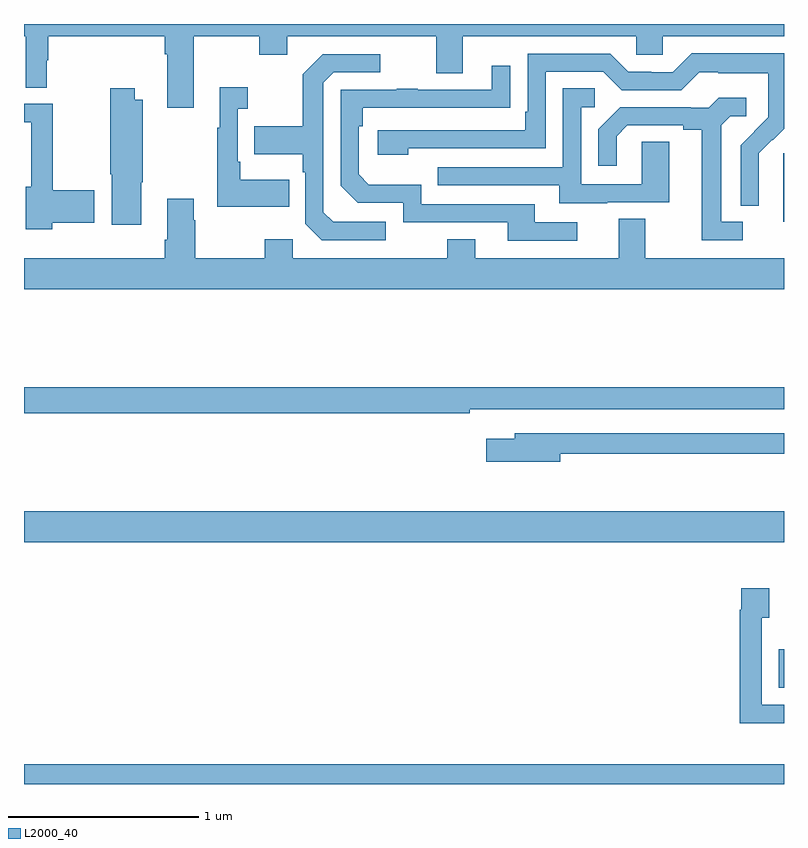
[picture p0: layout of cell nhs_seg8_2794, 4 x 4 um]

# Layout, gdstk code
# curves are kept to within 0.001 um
import gdstk
lib = gdstk.Library(unit=1e-6, precision=1e-09)
def R(c, l, rs):  # rectangles x0, y0, x1, y1
    for r in rs: c.add(gdstk.rectangle(r[:2], r[2:], *l))
def P(c, l, *ps):  # polygons
    for p in ps: c.add(gdstk.Polygon(p, *l))
L2000_40 = (2000, 40)

nhs_seg8_2794 = lib.new_cell('nhs_seg8_2794')
R(nhs_seg8_2794, L2000_40, [(287,1109.9,291,1110.004), (290.972,1110.407,291,1110.61), (287,1111.172,291,1111.336), (290.996,1112.858,291,1113.219)])
P(nhs_seg8_2794, L2000_40, [(287,1113.836),(287.009,1113.836),(287.009,1113.565),(287.12,1113.565),(287.12,1113.708),(287.128,1113.708),(287.128,1113.836),(287.741,1113.836),(287.741,1113.74),(287.753,1113.74),(287.753,1113.459),(287.893,1113.459),(287.893,1113.836),(288.238,1113.836),(288.238,1113.737),(288.385,1113.737),(288.385,1113.836),(289.169,1113.836),(289.169,1113.642),(289.309,1113.642),(289.309,1113.836),(290.223,1113.836),(290.223,1113.738),(290.361,1113.738),(290.361,1113.836),(291,1113.836),(291,1113.9),(287,1113.9)],
  [(290.868,1113.098),(290.867,1113.221),(290.937,1113.291),(290.94,1113.288),(291,1113.348),(291,1113.745),(290.515,1113.745),(290.415,1113.645),(290.3,1113.645),(290.3,1113.648),(290.181,1113.648),(290.085,1113.744),(289.65,1113.744),(289.65,1113.439),(289.637,1113.439),(289.637,1113.342),(288.861,1113.342),(288.861,1113.212),(289.022,1113.212),(289.022,1113.246),(289.746,1113.246),(289.746,1113.648),(290.049,1113.648),(290.145,1113.552),(290.46,1113.552),(290.553,1113.645),(290.653,1113.645),(290.653,1113.641),(290.916,1113.641),(290.916,1113.507),(290.918,1113.507),(290.918,1113.41),(290.772,1113.262),(290.772,1112.944),(290.868,1112.944)],
  [(288.904,1112.859),(288.627,1112.859),(288.576,1112.91),(288.576,1113.591),(288.63,1113.645),(288.874,1113.645),(288.874,1113.741),(288.573,1113.741),(288.468,1113.635),(288.468,1113.363),(288.211,1113.363),(288.211,1113.215),(288.468,1113.215),(288.468,1113.119),(288.48,1113.119),(288.48,1112.85),(288.567,1112.763),(288.904,1112.763)],
  [(289.912,1112.856),(289.687,1112.856),(289.687,1112.952),(289.092,1112.952),(289.092,1113.055),(288.815,1113.055),(288.762,1113.108),(288.762,1113.362),(288.782,1113.362),(288.782,1113.459),(289.559,1113.46),(289.559,1113.679),(289.463,1113.679),(289.463,1113.555),(289.073,1113.555),(289.073,1113.56),(288.961,1113.56),(288.961,1113.555),(288.666,1113.555),(288.666,1113.048),(288.756,1112.958),(288.996,1112.958),(288.996,1112.856),(289.547,1112.856),(289.547,1112.76),(289.912,1112.76)],
  [(288.395,1113.079),(288.139,1113.079),(288.139,1113.175),(288.126,1113.175),(288.126,1113.455),(288.178,1113.455),(288.178,1113.568),(288.029,1113.568),(288.029,1113.355),(288.018,1113.355),(288.018,1112.939),(288.395,1112.939)],
  [(290.071,1112.961),(290.395,1112.961),(290.395,1113.281),(290.25,1113.281),(290.25,1113.057),(289.932,1113.057),(289.932,1113.462),(290.005,1113.462),(290.005,1113.563),(289.836,1113.563),(289.836,1113.147),(289.177,1113.147),(289.177,1113.051),(289.817,1113.051),(289.817,1112.957),(290.071,1112.957)],
  [(287.617,1113.067),(287.625,1113.067),(287.625,1113.502),(287.584,1113.502),(287.584,1113.562),(287.455,1113.562),(287.455,1113.109),(287.462,1113.109),(287.462,1112.844),(287.617,1112.844)],
  [(290.782,1112.859),(290.671,1112.859),(290.671,1113.367),(290.718,1113.414),(290.8,1113.414),(290.8,1113.511),(290.656,1113.511),(290.604,1113.459),(290.51,1113.459),(290.51,1113.462),(290.138,1113.462),(290.022,1113.346),(290.022,1113.153),(290.119,1113.153),(290.119,1113.309),(290.176,1113.366),(290.471,1113.366),(290.471,1113.344),(290.567,1113.344),(290.567,1112.763),(290.782,1112.763)],
  [(287.148,1112.855),(287.371,1112.855),(287.371,1113.026),(287.15,1113.026),(287.15,1113.48),(287,1113.48),(287,1113.384),(287.039,1113.384),(287.039,1113.043),(287.009,1113.043),(287.009,1112.819),(287.148,1112.819)],
  [(291,1112.668),(290.269,1112.668),(290.269,1112.876),(290.129,1112.876),(290.129,1112.668),(289.375,1112.668),(289.375,1112.767),(289.228,1112.767),(289.228,1112.668),(288.414,1112.668),(288.414,1112.767),(288.268,1112.767),(288.268,1112.668),(287.901,1112.668),(287.901,1112.867),(287.893,1112.867),(287.893,1112.98),(287.753,1112.98),(287.753,1112.764),(287.741,1112.764),(287.741,1112.668),(287,1112.668),(287,1112.504),(291,1112.504)],
  [(289.346,1111.872),(291,1111.872),(291,1111.988),(287,1111.988),(287,1111.852),(289.346,1111.852)],
  [(289.822,1111.638),(291,1111.638),(291,1111.746),(289.583,1111.746),(289.583,1111.717),(289.434,1111.717),(289.434,1111.595),(289.822,1111.595)],
  [(291,1110.318),(290.883,1110.318),(290.883,1110.775),(290.923,1110.775),(290.923,1110.931),(290.775,1110.931),(290.775,1110.818),(290.767,1110.818),(290.767,1110.221),(291,1110.221)])

lib.write_gds('nhs_seg8_2794.gds')
